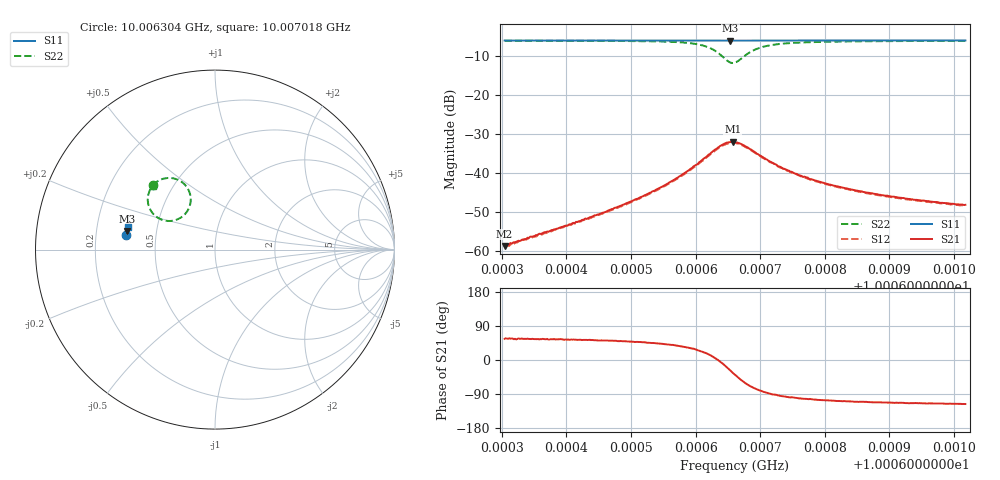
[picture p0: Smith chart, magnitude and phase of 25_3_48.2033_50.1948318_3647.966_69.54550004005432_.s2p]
#  HZ  S  RI  R  50.00
! Rohde & Schwarz Vector Network Analyzer
! Rohde-Schwarz,ZNB20-2Port,1311601062101988,3.16
! Created: UTC 3/20/2024, 11:37:08 AM
! freq[Hz]  re:S11  im:S11  re:S21  im:S21  re:S12  im:S12  re:S22  im:S22
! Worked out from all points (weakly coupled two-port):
!   401 points, 10.006304 GHz to 10.007018 GHz, reference 50 ohm
!   highest |S21| = -31.96 dB at 10.006657 GHz (marker M1); lowest = -58.8 dB at 10.006304 GHz (marker M2)
!   lowest |S11| = -6.0 dB at 10.006654 GHz (marker M3), VSWR 3.00, Z = 16.8 + j4.65 ohm
!   |S11| at or under -10 dB: nowhere
!   |S22| runs from -11.8 to -6.0 dB; largest |S21 - S12| = 0.0018
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1.00063042e10  -0.4956 0.0819  0.000648 0.000954  0.000577 0.001  -0.3473 0.3597
1.00063149e10  -0.4954 0.0826  0.000672 0.00103  0.000638 0.00105  -0.3464 0.3608
1.00064237e10  -0.4944 0.0898  0.00151 0.00199  0.00139 0.00201  -0.3319 0.3729
1.0006495e10  -0.4935 0.0945  0.00273 0.00313  0.00251 0.0032  -0.3143 0.3843
1.00065432e10  -0.4927 0.0976  0.00461 0.0044  0.00431 0.00449  -0.2914 0.394
1.00065788e10  -0.4921 0.1002  0.00772 0.00553  0.00724 0.00577  -0.2579 0.3992
1.00066127e10  -0.4911 0.1026  0.0144 0.00529  0.0137 0.00572  -0.1951 0.3831
1.00066252e10  -0.4905 0.1033  0.0183 0.00314  0.0175 0.00407  -0.1629 0.3559
1.00066377e10  -0.4897 0.1036  0.0221 -0.00165  0.0214 -0.000426  -0.1376 0.3037
1.00066466e10  -0.4896 0.1038  0.0232 -0.00695  0.0229 -0.00541  -0.1385 0.2514
1.00066537e10  -0.4894 0.1035  0.0222 -0.0116  0.0222 -0.0101  -0.1576 0.2095
1.00066573e10  -0.4895 0.1035  0.021 -0.014  0.0212 -0.0122  -0.1732 0.1916
1.00066609e10  -0.4896 0.1037  0.0193 -0.0157  0.0197 -0.0143  -0.1918 0.1775
1.00066716e10  -0.4899 0.1039  0.0137 -0.019  0.0142 -0.0177  -0.253 0.1594
1.00066841e10  -0.4903 0.1045  0.00736 -0.0189  0.00816 -0.0181  -0.3106 0.173
1.00067055e10  -0.4908 0.106  0.00157 -0.0156  0.00224 -0.0153  -0.3584 0.2187
1.00067358e10  -0.4908 0.1082  -0.00114 -0.0112  -0.00048 -0.0114  -0.3741 0.266
1.00067803e10  -0.4904 0.1115  -0.00198 -0.00801  -0.0016 -0.00796  -0.3725 0.3025
1.00068428e10  -0.4895 0.1156  -0.00205 -0.00576  -0.00178 -0.00569  -0.3648 0.327
1.00068998e10  -0.489 0.1194  -0.0019 -0.00465  -0.00171 -0.00464  -0.3584 0.3397
1.00069801e10  -0.4878 0.1244  -0.00174 -0.00376  -0.00156 -0.00377  -0.3512 0.3515
1.00070175e10  -0.4872 0.1269  -0.00172 -0.00351  -0.00151 -0.00346  -0.3481 0.3555
